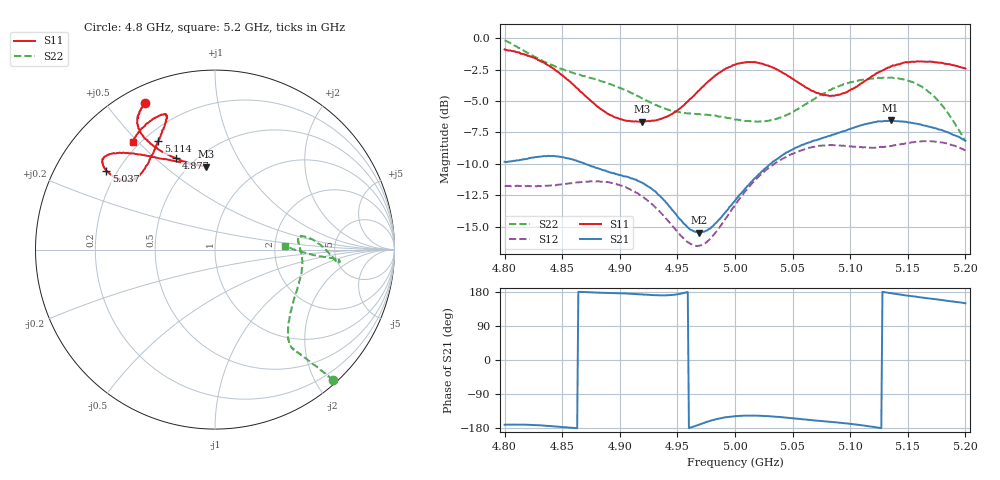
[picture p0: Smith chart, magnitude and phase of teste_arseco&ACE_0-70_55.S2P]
! Network Analyzer HP8722D
! Hewlett-Packard
! Data name: Linha & Wilkinson
! Saver's name: Rodrigo Anjos
! Comments: Teste da utilização de aquisição
! continua pelo VNA HP8722D
! Time and date: 8/5/2025 13:13
!  Frequency  S11  S21  S12  S22
# HZ  S  MA R 50
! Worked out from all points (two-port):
!   401 points, 4.8 GHz to 5.2 GHz, reference 50 ohm
!   highest |S21| = -6.55 dB at 5.135 GHz (marker M1); lowest = -15.5 dB at 4.969 GHz (marker M2)
!   |S21| within 3 dB of the highest: 4.822 GHz to 4.854 GHz (31.81 MHz wide, 0.658 % of centre); 5.038 GHz to end of sweep
!   lowest |S11| = -6.7 dB at 4.919 GHz (marker M3), VSWR 2.74, Z = 29.9 + j35.2 ohm
!   |S11| at or under -10 dB: nowhere
!   |S22| runs from -8.2 to -0.2 dB; largest |S21 - S12| = 0.83
!   S11 on the Smith chart (normalised r, x): 4.8 GHz: 0.07, +0.63; 4.877 GHz: 0.40, +0.58; 5.037 GHz: 0.16, +0.32; 5.114 GHz: 0.26, +0.58; 5.2 GHz: 0.17, +0.48
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4.8e9  0.9027 115.6  0.3219 -170.8  0.2581 -86.1  0.9802 -47.8
4.833e9  0.8028 122.1  0.3388 -172.8  0.2572 -77.4  0.8119 -49.8
4.846e9  0.7359 122.3  0.3385 -175.8  0.2609 -73.0  0.7657 -50.6
4.867e9  0.6086 117.5  0.3198 179.3  0.2674 -67.6  0.7107 -51.7
4.877e9  0.5528 113.1  0.308 178.1  0.2693 -66.7  0.6899 -52.0
4.901e9  0.4757 100.4  0.2848 175.9  0.2589 -67.2  0.6325 -50.0
4.919e9  0.4647 96.0  0.2667 173.2  0.2348 -69.1  0.577 -44.7
4.934e9  0.4743 99.5  0.2369 170.6  0.2057 -69.7  0.5352 -37.0
4.958e9  0.5547 116.3  0.1784 178.6  0.1553 -59.1  0.5019 -21.2
4.969e9  0.6205 123.9  0.1682 -170.5  0.149 -46.7  0.4991 -14.8
4.98e9  0.6923 129.7  0.1776 -159.0  0.1617 -34.4  0.4935 -9.0
5e9  0.7854 137.1  0.2253 -148.4  0.2167 -21.5  0.4741 -0.1
5.018e9  0.8018 141.5  0.2786 -146.8  0.2734 -18.7  0.4668 5.9
5.037e9  0.7482 143.9  0.3315 -150.1  0.3221 -18.8  0.479 8.9
5.067e9  0.6173 141.8  0.3891 -158.8  0.3689 -21.1  0.5668 4.3
5.088e9  0.5931 132.7  0.4173 -164.6  0.3741 -24.3  0.6391 -2.2
5.114e9  0.6816 117.6  0.4558 -173.9  0.3665 -27.1  0.6872 -5.7
5.134e9  0.7654 110.9  0.4682 177.1  0.3716 -29.3  0.6964 -5.3
5.135e9  0.7715 110.7  0.4706 176.5  0.3724 -29.4  0.6964 -5.1
5.161e9  0.8089 112.2  0.4543 165.3  0.3883 -35.7  0.6457 -4.0
5.179e9  0.7996 118.4  0.4317 158.4  0.3846 -41.5  0.5448 -3.2
5.2e9  0.7572 127.3  0.3908 149.9  0.3574 -47.0  0.3886 3.2
